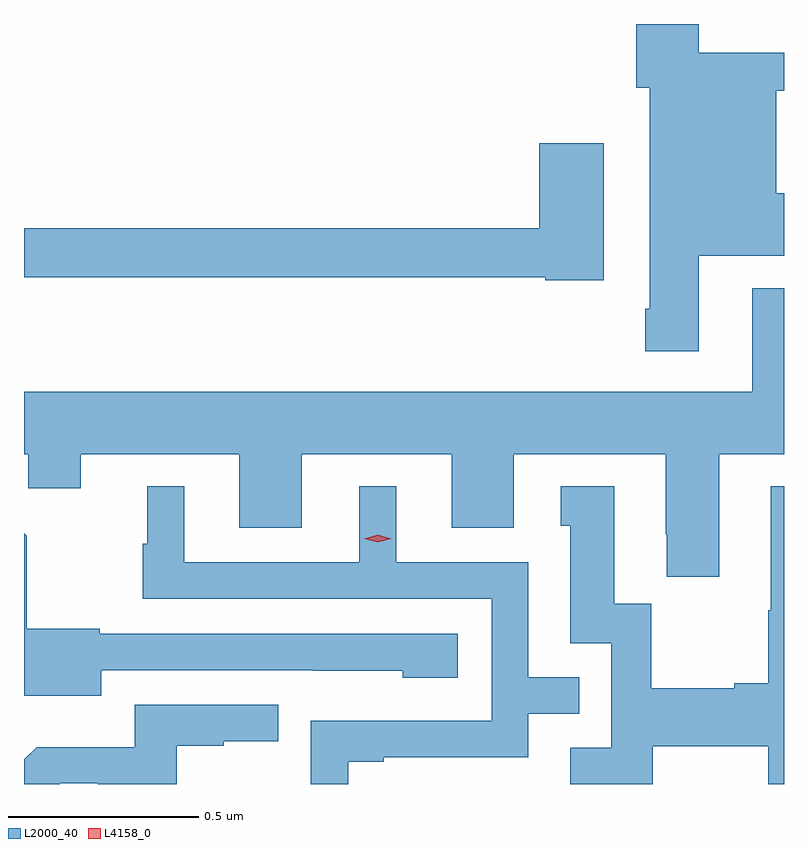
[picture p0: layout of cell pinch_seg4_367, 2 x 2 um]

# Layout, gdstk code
import gdstk
lib = gdstk.Library(unit=1e-6, precision=1e-09)
def P(c, l, *ps):  # polygons
    for p in ps: c.add(gdstk.Polygon(p, *l))
L2000_40 = (2000, 40)
L4158_0 = (4158, 0)

pinch_seg4_367 = lib.new_cell('pinch_seg4_367')
P(pinch_seg4_367, L2000_40, [(967.393,800.006),(967.618,800.006),(967.618,800.17),(967.597,800.17),(967.597,800.44),(967.618,800.44),(967.618,800.541),(967.393,800.541),(967.393,800.616),(967.229,800.616),(967.229,800.448),(967.265,800.448),(967.265,799.867),(967.253,799.867),(967.253,799.755),(967.393,799.755)],
  [(967.144,800.302),(966.974,800.302),(966.974,800.078),(965.618,800.078),(965.618,799.95),(966.99,799.95),(966.99,799.942),(967.144,799.942)],
  [(965.618,799.484),(965.629,799.484),(965.629,799.394),(965.767,799.394),(965.767,799.484),(966.185,799.484),(966.185,799.29),(966.349,799.29),(966.349,799.484),(966.743,799.484),(966.743,799.29),(966.907,799.29),(966.907,799.484),(967.307,799.484),(967.307,799.273),(967.31,799.273),(967.31,799.161),(967.447,799.161),(967.447,799.484),(967.618,799.484),(967.618,799.921),(967.535,799.921),(967.535,799.648),(965.618,799.648)],
  [(967.273,798.716),(967.576,798.716),(967.576,798.616),(967.618,798.616),(967.618,799.399),(967.583,799.399),(967.583,799.073),(967.576,799.073),(967.576,798.881),(967.487,798.881),(967.487,798.868),(967.269,798.868),(967.269,799.091),(967.171,799.091),(967.171,799.399),(967.031,799.399),(967.031,799.296),(967.055,799.296),(967.055,798.987),(967.164,798.987),(967.164,798.711),(967.055,798.711),(967.055,798.616),(967.273,798.616)],
  [(966.471,798.675),(966.565,798.675),(966.565,798.687),(966.945,798.687),(966.945,798.801),(967.079,798.801),(967.079,798.897),(966.945,798.897),(966.945,799.2),(966.598,799.2),(966.598,799.399),(966.5,799.399),(966.5,799.2),(966.04,799.2),(966.04,799.399),(965.942,799.399),(965.942,799.248),(965.931,799.248),(965.931,799.104),(966.849,799.104),(966.849,798.783),(966.372,798.783),(966.372,798.616),(966.471,798.616)],
  [(965.821,798.915),(966.379,798.915),(966.379,798.914),(966.615,798.914),(966.615,798.896),(966.76,798.896),(966.76,799.011),(965.817,799.011),(965.817,799.024),(965.625,799.024),(965.625,799.269),(965.618,799.276),(965.618,798.848),(965.821,798.848)],
  [(965.712,798.618),(965.812,798.618),(965.812,798.616),(966.02,798.616),(966.02,798.717),(966.143,798.717),(966.143,798.728),(966.287,798.728),(966.287,798.825),(965.91,798.825),(965.91,798.713),(965.651,798.713),(965.619,798.681),(965.619,798.616),(965.712,798.616)])
P(pinch_seg4_367, L4158_0, [(966.549,799.252),(966.513,799.261),(966.513,799.262),(966.513,799.262),(966.549,799.272),(966.585,799.262),(966.585,799.262),(966.585,799.261)])

lib.write_gds('pinch_seg4_367.gds')
